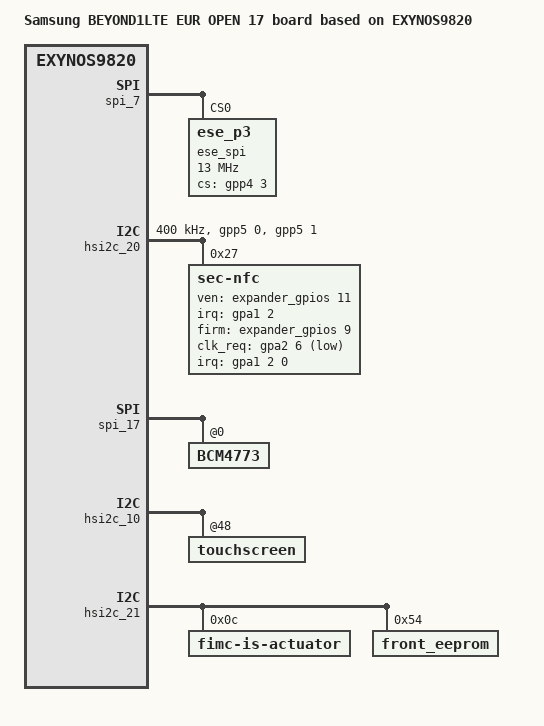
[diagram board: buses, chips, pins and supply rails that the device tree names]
/*
 * SAMSUNG EXYNOS9820 board device tree source
 *
 * Copyright (c) 2018 Samsung Electronics Co., Ltd.
 *		http://www.samsung.com
 *
 * This program is free software; you can redistribute it and/or modify
 * it under the terms of the GNU General Public License version 2 as
 * published by the Free Software Foundation.
*/

/dts-v1/;
/plugin/;
#include "exynos9820-sensorhub.dtsi"
#include "exynos9820-display-lcd.dtsi"
#include "battery_data_beyond2lte_common.dtsi"
#include "exynos9820-beyond2lte_if-pmic-max77705.dtsi"
#include <dt-bindings/clock/exynos9820.h>
#include <dt-bindings/pci/pci.h>
#include "exynos9820-bootargs_ext.dtsi"
#include "exynos9820-beyond1lte_camera.dtsi"
#include "exynos9820_evt0-beyond1lte_common.dtsi"
#include "exynos9820-beyond1lte_fingerprint_00.dtsi"
#include "exynos9820-beyond2lte_motor.dtsi"
#include "exynos9820-beyond1lte_optics-r00.dtsi"

/ {
	compatible = "samsung,BEYOND1LTE EUR OPEN 17", "samsung,EXYNOS9820";
	dtbo-hw_rev = <17>;
   	dtbo-hw_rev_end = <255>;

	fragment@model {
		target-path = "/";
		__overlay__ {
			#address-cells = <2>;
			#size-cells = <1>;

			model = "Samsung BEYOND1LTE EUR OPEN 17 board based on EXYNOS9820";

		}; /* end of __overlay__ */
	}; /* end of fragment */

	fragment@camera {
		target-path = "/";
		__overlay__ {
			fimc_is_sensor_3m3: fimc-is_sensor_3m3@5A {
				power_seq_id = <1>;
			};
		}; /* end of __overlay__ */
	}; /* end of fragment */
}; /* end of root */

&pinctrl_0 {
	dp_hpd: dp_hpd {
		samsung,pins = "gpa2-7";
		samsung,pin-function = <2>;
		samsung,pin-pud = <0>;
		};
};

&displayport {
	pinctrl-names = "default";
	pinctrl-0 = <&dp_hpd>;
};

&pinctrl_6 {
	spi7_bus_suspend: spi7-bus-suspend {
		samsung,pins = "gpp4-2", "gpp4-1", "gpp4-0";
		samsung,pin-function = <0>;	/* INPUT */
		samsung,pin-pud = <1>;		/* DOWN */
		samsung,pin-drv = <0>;
	};
	spi7_cs_suspend: spi7-cs-suspend {
		samsung,pins = "gpp4-3";
		samsung,pin-function = <0>;	/* INPUT */
		samsung,pin-pud = <1>;		/* DOWN */
		samsung,pin-drv = <0>;
	};
};

/* SPI USI_PERIC1_USI06_SPI */
&spi_7 {
	status = "okay";
	/delete-property/ pinctrl-names;
	/delete-property/ pinctrl-0;
	pinctrl-names = "ese_active", "ese_suspend";
	pinctrl-0 = <&spi7_bus &spi7_cs>;
	pinctrl-1 = <&spi7_bus_suspend &spi7_cs_suspend>;

	ese_spi@0 {
		compatible = "ese_p3";
		reg = <0>;
		spi-max-frequency = <13000000>;
		gpio-controller;
		#gpio-cells = <2>;

		p3-vdd-1p8= "VDD_ESE_1P8";

		clocks = <&clock GATE_USI06_USI>, <&clock DOUT_CLK_PERIC1_USI06_USI>;
		clock-names = "pclk", "sclk";
		ese_p3,cs-gpio = <&gpp4 3 0>;

		controller-data {
			samsung,spi-feedback-delay = <0>;
			samsung,spi-chip-select-mode = <0>;
		};
	};
};

&hsi2c_20 {
	gpios = <&gpp5 0 0 &gpp5 1 0>;
	status = "okay";
	clock-frequency = <400000>;

	sec-nfc@27 {
		compatible = "sec-nfc";
		reg = <0x27>;

		interrupts = <2 0 0>;
		interrupt-parent = <&gpa1>;

		sec-nfc,ven-gpio = <&expander_gpios 11 0>;
		sec-nfc,irq-gpio = <&gpa1 2 0>;
		sec-nfc,firm-gpio = <&expander_gpios 9 0>;
		sec-nfc,clk_req-gpio = <&gpa2 6 0xf>;
		sec-nfc,clk_use = <2>;
		sec-nfc,nfc_pvdd = "VDD_NFC_1P8";

		clocks = <&clock OSC_NFC>;
		clock-names = "oscclk_nfc";
		sec-nfc,nfc_ap_clk;
		sec-nfc,ldo_control;
	};
};

&spi_17 {
	BCM4773@0 {
		ssp-acc-position = <7>;
		ssp-mag-position = <7>;
		ssp-mag-array = /bits/ 8 <105 83 186 37 145 10 0 219 211 55 95 238 225 25 0 168 255 108 134 7 
					191 253 92 99 10 153 28>;
		ssp-thermi-up = /bits/ 16 <3012 2985 2945 2901 2841 2801 2733 2637 2528 2408 2288 2128 1976 1818
					1658 1486 1330 1184 1046 915 798 689 599>;
		ssp-thermi-sub = /bits/ 16 <3012 2985 2945 2901 2841 2801 2733 2637 2528 2408 2288 2128 1976 1818
					1658 1486 1330 1184 1046 915 798 689 599>;
	};
};

&hsi2c_10 {
	touchscreen@48 {
		sec,bringup = <1>;
	};
};

&hsi2c_21 {
	fimc-is-actuator@0D {
		reg = <0x0C>;
	};

	front_eeprom@51 {
		reg = <0x54>;
		rom_size = <0x8000>; /* will modify soon as (single : 0x34FF, dual : 0x39FF) */
		skip_cal_loading;

		/* Beyond_Front_Cal_Map_V004_20180709_for_LSI */
		/* 0 header */
		header_crc_check_list = <0x0000 0x013F 0x01FC>;
		crc_check_list = <0x0200 0x34DF 0x34FC>;
	};
};

&speedy {
	s2mps19mfd@00 {
		regulators {
			/* necessary for rev0.1 tele camera*/
			ldo25_reg: LDO25M {
				regulator-name = "VDDIO_1.8V_FRONTSUB";
				regulator-min-microvolt = <1800000>;
				regulator-max-microvolt = <1800000>;
				regulator-ramp-delay = <12000>;
				regulator-initial-mode = <3>;
			};
		};
	};
};
